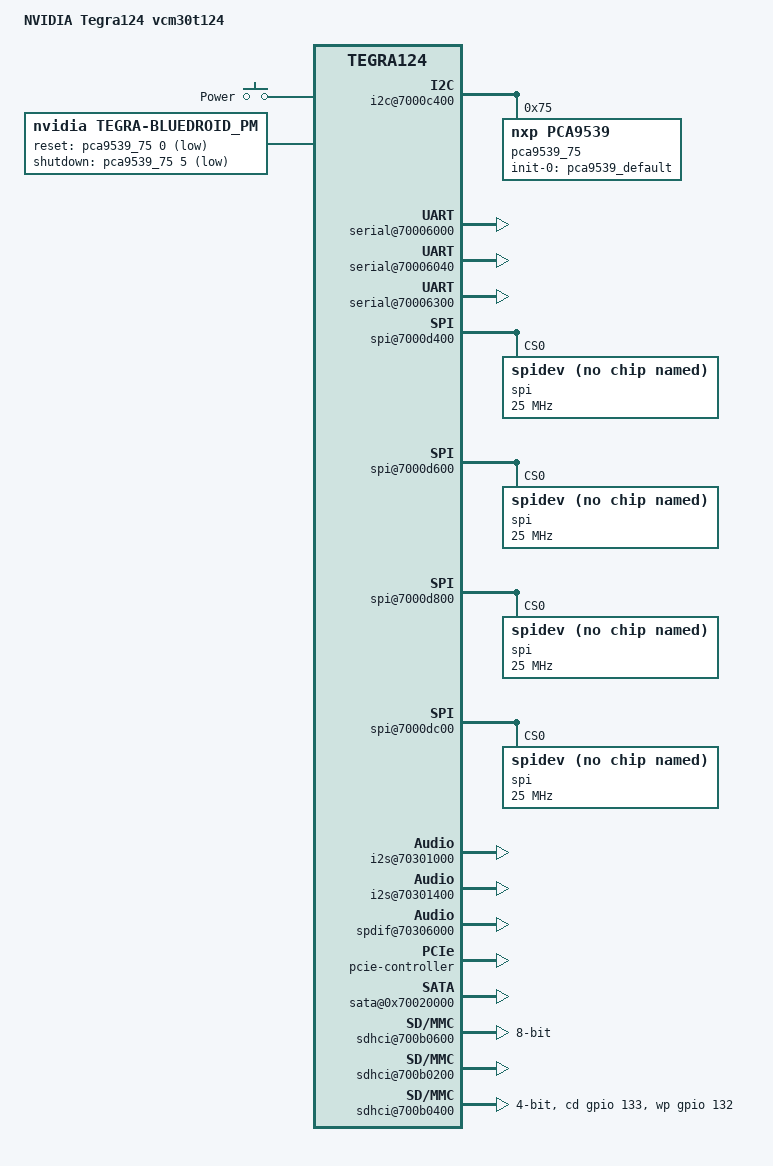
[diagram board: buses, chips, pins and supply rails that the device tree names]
/*
 * arch/arm/boot/dts/tegra124-vcm30_t124.dts
 *
 * Copyright (c) 2013-2014, NVIDIA CORPORATION.  All rights reserved.
 *
 * This program is free software; you can redistribute it and/or modify
 * it under the terms of the GNU General Public License as published by
 * the Free Software Foundation; version 2 of the License.
 *
 * This program is distributed in the hope that it will be useful, but WITHOUT
 * ANY WARRANTY; without even the implied warranty of MERCHANTABILITY or
 * FITNESS FOR A PARTICULAR PURPOSE.  See the GNU General Public License for
 * more details.
 *
 * You should have received a copy of the GNU General Public License along
 * with this program; if not, write to the Free Software Foundation, Inc.,
 * 51 Franklin Street, Fifth Floor, Boston, MA  02110-1301, USA.
 *
 */

 /dts-v1/;

/* This file is for Vibrante 3.0 Android */
#include "tegra124.dtsi"
#include <tegra124-platforms/tegra124-vcm30-t124-gpio-default.dtsi>
#include <tegra124-platforms/tegra124-vcm30-t124-pinmux.dtsi>


/ {
	model = "NVIDIA Tegra124 vcm30t124";
	compatible = "nvidia,vcm30t124", "nvidia,tegra124";
	nvidia,dtsfilename = __FILE__;
	#address-cells = <2>;
	#size-cells = <2>;

	chosen {
		nvidia,tegra-hypervisor-mode;
	};

	gpio-keys {
		compatible = "gpio-keys";
		pwr_int_n {
			label = "Power";
			interrupts = <0 86 IRQ_TYPE_NONE>;
			linux,code = <KEY_POWER>;
			gpio-key,wakeup;
			debounce-interval = <100>;
		};
	};

	i2c@7000c400 {
		nvidia,clock-always-on;

		pca9539_75: pca9546@75 {
			compatible = "nxp,pca9539";
			gpio-controller;
			#gpio-cells = <2>;
			reg = <0x75>;
			gpio-init-names = "default";
			gpio-init-0 = <&pca9539_default>;
			pca9539_default: default {
				gpio-output-high = <0 3 4 5 7 9 13 14 15>;
			};
		};
	};

        serial@70006000 {
                compatible = "nvidia,tegra114-hsuart";
                status = "okay";
        };

        serial@70006040 {
                compatible = "nvidia,tegra114-hsuart";
                status = "okay";
        };

        serial@70006300 {
                compatible = "nvidia,tegra114-hsuart";
                status = "okay";
        };

	spi@7000d400 {
		status = "okay";
		spi@0 {
			compatible = "spidev";
			reg = <0>;
			spi-max-frequency = <25000000>;
			/* spi-cpha;
			 * spi-cpol;
			 * spi-cs-high;
			 */
		};
	};

	spi@7000d600 {
		status = "okay";
		spi@0 {
			compatible = "spidev";
			reg = <0>;
			spi-max-frequency = <25000000>;
		};
	};

	spi@7000d800 {
		status = "okay";
		spi@0 {
			compatible = "spidev";
			reg = <0>;
			spi-max-frequency = <25000000>;
		};
	};

	spi@7000dc00 {
		status = "okay";
		spi@0 {
			compatible = "spidev";
			reg = <0>;
			spi-max-frequency = <25000000>;
		};
	};

	ahub {
		status = "okay";

		i2s@70301000 {
			status = "okay";
		};
		i2s@70301400 {
			status = "okay";
		};
		spdif@70306000 {
			status = "okay";
		};
		amx@70303000 {
			status = "okay";
		};
		adx@70303800 {
			status = "okay";
		};
		amx@70303100 {
			status = "okay";
		};
		adx@70303900 {
			status = "okay";
		};
		dam@70302000 {
			status = "okay";
		};
		dam@70302200 {
			status = "okay";
		};
		dam@70302400 {
			status = "okay";
		};
		afc@70307000 {
			status = "okay";
		};
		afc@70307100 {
			status = "okay";
		};
		afc@70307200 {
			status = "okay";
		};
		afc@70307300 {
			status = "okay";
		};
		afc@70307400 {
			status = "okay";
		};
		afc@70307500 {
			status = "okay";
		};
	};

	pcie-controller {
		status = "okay";

		pci@1,0 {
			status = "okay";
		};

		pci@2,0 {
			status = "okay";
		};
	};

	sata@0x70020000 {
		status = "okay";
		nvidia,enable-sata-port;
	};

	sdhci@700b0600 {
		tap-delay = <0x4>;
		trim-delay = <0x4>;
		ddr-trim-delay = <0x4>;
		mmc-ocr-mask = <0>;
		uhs_mask = <0x40>;
		bus-width = <8>;
		built-in;
		ddr-clk-limit = <51000000>;
		max-clk-limit = <200000000>;
		status = "okay";
	};

	sdhci@700b0200 {
		tap-delay = <0x1>;
		trim-delay = <0x3>;
		ddr-trim-delay = <0x3>;
		mmc-ocr-mask = <0>;
		uhs_mask = <0x20>;
		built-in;
		ddr-clk-limit = <30000000>;
		max-clk-limit = <51000000>;
		status = "okay";
	};

	sdhci@700b0400 {
		cd-gpios = <&gpio 133 0>;
		wp-gpios = <&gpio 132 0>;
		tap-delay = <0>;
		trim-delay = <3>;
		mmc-ocr-mask = <3>;
		uhs_mask = <0x2F>;
		bus-width = <4>;
		max-clk-limit = <50000000>;
		status = "okay";
	};

	bluedroid_pm {
		compatible = "nvidia,tegra-bluedroid_pm";
		id = <0>;
		bluedroid_pm,reset-gpio = <&pca9539_75 0 1>; /* MISCIO_BT_RST */
		bluedroid_pm,shutdown-gpio = <&pca9539_75 5 1>; /* MISCIO_BT_EN */
		status = "okay";
	};
};
